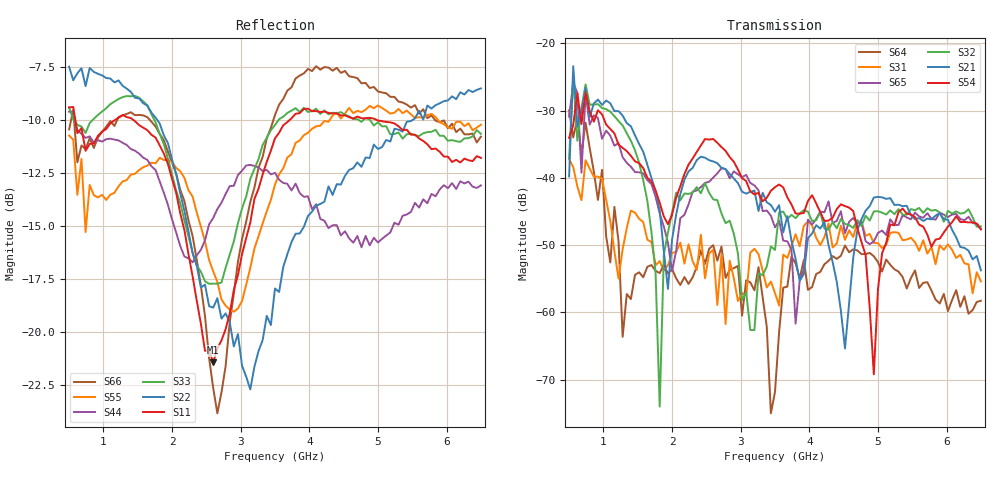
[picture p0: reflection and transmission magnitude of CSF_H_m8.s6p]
!Keysight Technologies,M9804A,MY58100912,A.14.10.03
!Date: Thursday, April 27, 2023 10:28:33
!Correction: S11(C  6-Port  )
!S12(C  6-Port  )
!S13(C  6-Port  )
!S14(C  6-Port  )
!S15(C  6-Port  )
!S16(C  6-Port  )
!S21(C  6-Port  )
!S22(C  6-Port  )
!S23(C  6-Port  )
!S24(C  6-Port  )
!S25(C  6-Port  )
!S26(C  6-Port  )
!S31(C  6-Port  )
!S32(C  6-Port  )
!S33(C  6-Port  )
!S34(C  6-Port  )
!S35(C  6-Port  )
!S36(C  6-Port  )
!S41(C  6-Port  )
!S42(C  6-Port  )
!S43(C  6-Port  )
!S44(C  6-Port  )
!S45(C  6-Port  )
!S46(C  6-Port  )
!S51(C  6-Port  )
!S52(C  6-Port  )
!S53(C  6-Port  )
!S54(C  6-Port  )
!S55(C  6-Port  )
!S56(C  6-Port  )
!S61(C  6-Port  )
!S62(C  6-Port  )
!S63(C  6-Port  )
!S64(C  6-Port  )
!S65(C  6-Port  )
!S66(C  6-Port  )
!S6P File: Measurement: :
# Hz S  RI  R 50
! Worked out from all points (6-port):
!   101 points, 500 MHz to 6.5 GHz, reference 50 ohm
!   strongest paths, dB at 500 MHz, 2 GHz, 3.5 GHz, 5 GHz, 6.5 GHz:
!     S54: -34.1, -45.5, -41.4, -56.6, -47.7
!     S21: -39.8, -49.2, -45.0, -42.8, -53.7
!     S32: -37.0, -45.1, -50.7, -45.0, -47.2
!     S65: -30.9, -53.9, -47.4, -48.2, -47.5
!     S31: -37.2, -51.1, -57.1, -49.7, -55.4
!     S64: -30.0, -53.5, -71.8, -52.5, -58.3
!   lowest |S11| = -21.4 dB at 2.6 GHz (marker M1), VSWR 1.19, Z = 42.5 + j2.19 ohm
!   |S11| at or under -10 dB: 589.6 MHz to 1.17 GHz (580.4 MHz wide, 66 % of centre); 1.435 GHz to 3.715 GHz (2.28 GHz wide, 88.6 % of centre); 4.981 GHz to end of sweep
